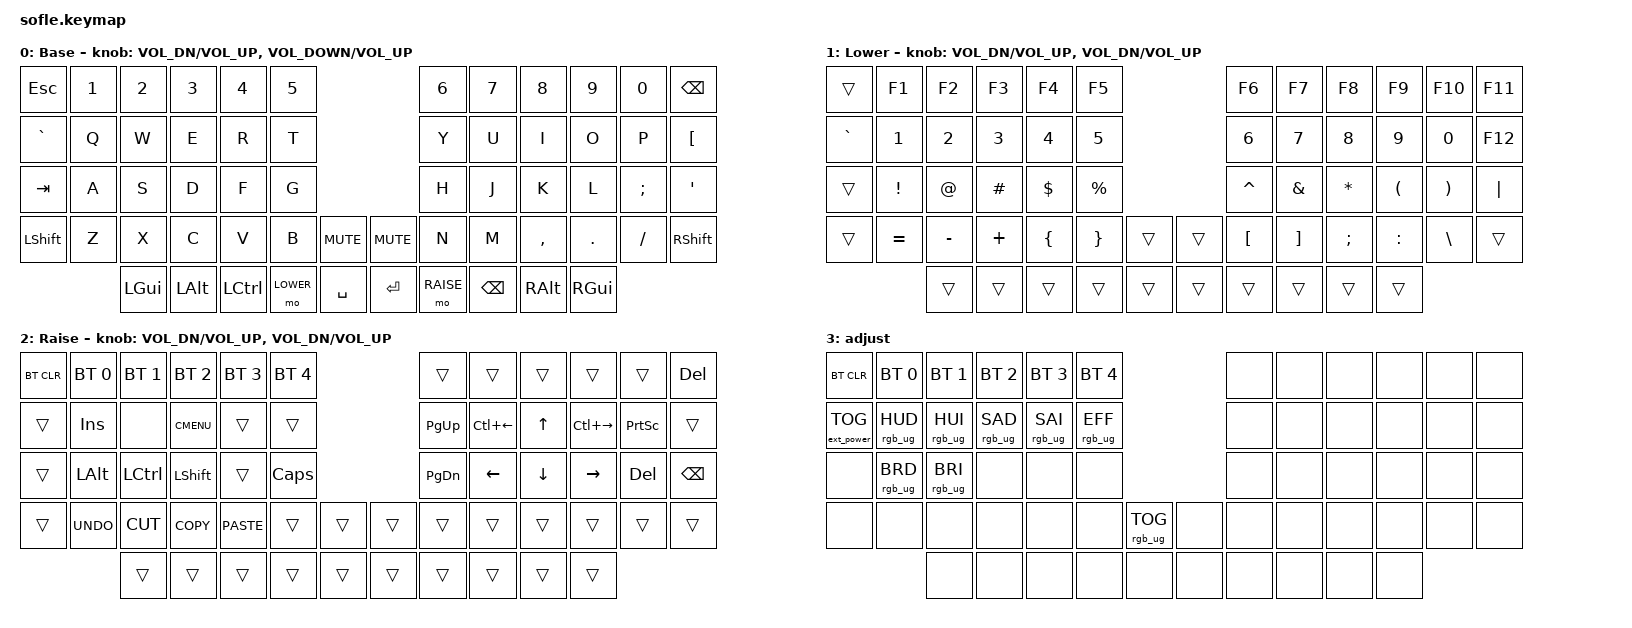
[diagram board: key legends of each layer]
/*
 * Copyright (c) 2020 The ZMK Contributors
 *
 * SPDX-License-Identifier: MIT
 */

#include <behaviors.dtsi>
#include <dt-bindings/zmk/bt.h>
#include <dt-bindings/zmk/ext_power.h>
#include <dt-bindings/zmk/keys.h>
#include <dt-bindings/zmk/rgb.h>

#define BASE 0
#define LOWER 1
#define RAISE 2
#define ADJUST 3

/ {
    // Activate ADJUST layer by pressing raise and lower

    conditional_layers {
        compatible = "zmk,conditional-layers";

        adjust_layer {
            if-layers = <LOWER RAISE>;
            then-layer = <ADJUST>;
        };
    };

    keymap {
        compatible = "zmk,keymap";

        default_layer {
            display-name = "Base";

            // ------------------------------------------------------------------------------------------------------------
            // | ESC |  1  |  2  |  3   |  4   |  5   |                   |  6   |  7    |  8    |  9   |   0   | BKSPC |
            // |  `  |  Q  |  W  |  E   |  R   |  T   |                   |  Y   |  U    |  I    |  O   |   P   |       |
            // |  TAB  |  A  |  S  |  D   |  F   |  G   |                   |  H   |  J    |  K    |  L   |   ;   |   '   |
            // | SHIFT |  Z  |  X  |  C   |  V   |  B   |  MUTE  |  |       |  N   |  M    |  ,    |  .   |   /   | SHIFT |
            //               | GUI | ALT  | CTRL | LOWER|  ENTER |  | SPACE | RAISE| CTRL  | ALT   | GUI  |

            bindings = <
&kp ESC    &kp N1  &kp N2    &kp N3    &kp N4     &kp N5                               &kp N6     &kp N7         &kp N8         &kp N9         &kp N0    &kp BSPC
&kp GRAVE  &kp Q   &kp W     &kp E     &kp R      &kp T                                &kp Y      &kp U          &kp I          &kp O          &kp P     &kp LBKT
&kp TAB    &kp A   &kp S     &kp D     &kp F      &kp G                                &kp H      &kp J          &kp K          &kp L          &kp SEMI  &kp SQT
&kp LSHFT  &kp Z   &kp X     &kp C     &kp V      &kp B      &kp C_MUTE    &kp C_MUTE  &kp N      &kp M          &kp COMMA      &kp DOT        &kp FSLH  &kp RSHFT
                   &kp LGUI  &kp LALT  &kp LCTRL  &mo LOWER  &kp SPACE     &kp ENTER   &mo RAISE  &kp BACKSPACE  &kp RIGHT_ALT  &kp RIGHT_GUI
            >;

            sensor-bindings =
                <&inc_dec_kp C_VOL_DN C_VOL_UP>,
                <&inc_dec_kp C_VOLUME_DOWN C_VOLUME_UP>;
        };

        lower_layer {
            display-name = "Lower";

            // TODO: Some binds are waiting for shifted keycode support.
            // ------------------------------------------------------------------------------------------------------------
            // |       |  F1 |  F2 |  F3  |  F4  |  F5  |                   |  F6  |  F7   |  F8   |  F9  |  F10  |  F11  |
            // |   `   |  1  |  2  |  3   |  4   |  5   |                   |  6   |  7    |  8    |  9   |   0   |  F12  |
            // |       |  !  |  @  |  #   |  $   |  %   |                   |  ^   |  &    |  *    |  (   |   )   |   |   |
            // |       |  =  |  -  |  +   |  {   |  }   |        |  |       |  [   |  ]    |  ;    |  :   |   \   |       |
            //               |     |      |      |      |        |  |       |      |       |       |      |

            bindings = <
&trans     &kp F1     &kp F2     &kp F3    &kp F4    &kp F5                       &kp F6     &kp F7    &kp F8     &kp F9     &kp F10   &kp F11
&kp GRAVE  &kp N1     &kp N2     &kp N3    &kp N4    &kp N5                       &kp N6     &kp N7    &kp N8     &kp N9     &kp N0    &kp F12
&trans     &kp EXCL   &kp AT     &kp HASH  &kp DLLR  &kp PRCNT                    &kp CARET  &kp AMPS  &kp ASTRK  &kp LPAR   &kp RPAR  &kp PIPE
&trans     &kp EQUAL  &kp MINUS  &kp PLUS  &kp LBRC  &kp RBRC   &trans    &trans  &kp LBKT   &kp RBKT  &kp SEMI   &kp COLON  &kp BSLH  &trans
                      &trans     &trans    &trans    &trans     &trans    &trans  &trans     &trans    &trans     &trans
            >;

            sensor-bindings =
                <&inc_dec_kp C_VOL_DN C_VOL_UP>,
                <&inc_dec_kp C_VOL_DN C_VOLUME_UP>;
        };

        raise_layer {
            display-name = "Raise";

            // ------------------------------------------------------------------------------------------------------------
            // | BTCLR | BT1  | BT2  |  BT3  |  BT4  |  BT5 |                |      |      |       |      |       |       |
            // |       | INS  | PSCR | GUI   |       |      |                | PGUP |      |   ^   |      |       |       |
            // |       | ALT  | CTRL | SHIFT |       | CAPS |                | PGDN |   <- |   v   |  ->  |  DEL  | BKSPC |
            // |       | UNDO | CUT  | COPY  | PASTE |      |      |  |      |      |      |       |      |       |       |
            //                |      |       |       |      |      |  |      |      |      |       |      |

            bindings = <
&bt BT_CLR  &bt BT_SEL 0  &bt BT_SEL 1  &bt BT_SEL 2  &bt BT_SEL 3  &bt BT_SEL 4                    &trans     &trans              &trans    &trans               &trans           &kp DEL
&trans      &kp INS       &none         &kp K_CMENU   &trans        &trans                          &kp PG_UP  &kp LC(LEFT_ARROW)  &kp UP    &kp LC(RIGHT_ARROW)  &kp PRINTSCREEN  &trans
&trans      &kp LALT      &kp LCTRL     &kp LSHFT     &trans        &kp CLCK                        &kp PG_DN  &kp LEFT            &kp DOWN  &kp RIGHT            &kp DEL          &kp BSPC
&trans      &kp K_UNDO    &kp K_CUT     &kp K_COPY    &kp K_PASTE   &trans        &trans    &trans  &trans     &trans              &trans    &trans               &trans           &trans
                          &trans        &trans        &trans        &trans        &trans    &trans  &trans     &trans              &trans    &trans
            >;

            sensor-bindings =
                <&inc_dec_kp C_VOL_DN C_VOL_UP>,
                <&inc_dec_kp C_VOL_DN C_VOL_UP>;
        };

        adjust_layer {
            // ----------------------------------------------------------------------------------------------------------------------------
            // | BTCLR  |  BT1    |  BT2    |   BT3   |   BT4   |   BT5   |                  |      |      |       |      |       |       |
            // | EXTPWR | RGB_HUD | RGB_HUI | RGB_SAD | RGB_SAI | RGB_EFF |                  |      |      |       |      |       |       |
            // |        | RGB_BRD | RGB_BRI |         |         |         |                  |      |      |       |      |       |       |
            // |        |         |         |         |         |         | RGB_TOG | |      |      |      |       |      |       |       |
            //                    |         |         |         |         |         | |      |      |      |       |      |

            display-name = "adjust";
            bindings = <
&bt BT_CLR         &bt BT_SEL 0     &bt BT_SEL 1     &bt BT_SEL 2     &bt BT_SEL 3     &bt BT_SEL 4                               &none  &none  &none  &none  &none  &none
&ext_power EP_TOG  &rgb_ug RGB_HUD  &rgb_ug RGB_HUI  &rgb_ug RGB_SAD  &rgb_ug RGB_SAI  &rgb_ug RGB_EFF                            &none  &none  &none  &none  &none  &none
&none              &rgb_ug RGB_BRD  &rgb_ug RGB_BRI  &none            &none            &none                                      &none  &none  &none  &none  &none  &none
&none              &none            &none            &none            &none            &none            &rgb_ug RGB_TOG    &none  &none  &none  &none  &none  &none  &none
                                    &none            &none            &none            &none            &none              &none  &none  &none  &none  &none
            >;
        };
    };
};
